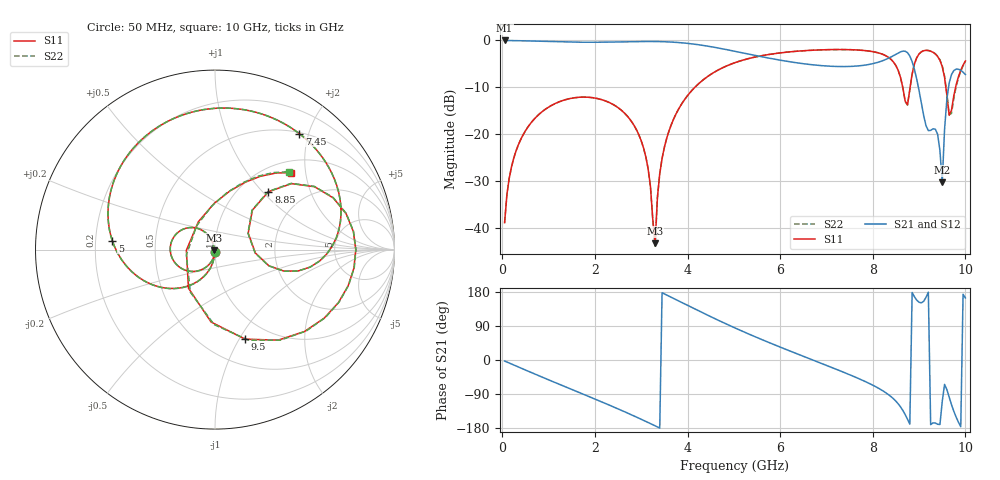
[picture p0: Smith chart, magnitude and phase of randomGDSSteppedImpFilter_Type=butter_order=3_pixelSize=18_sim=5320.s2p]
! freq	dB(S11)	phase(S11)	dB(S12)	phase(S12)
!  dB(S21)	phase(S21)	dB(S22)	phase(S22)
!S-par simulation data
#  GHz  S  DB  R 50
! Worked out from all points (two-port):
!   200 points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, 50 MHz to 10 GHz, reference 50 ohm
!   highest |S21| = 0.00 dB at 50 MHz (marker M1); lowest = -30.2 dB at 9.5 GHz (marker M2)
!   |S21| within 3 dB of the highest: start of sweep to 5.366 GHz; 8.489 GHz to 8.778 GHz (289.3 MHz wide, 3.35 % of centre)
!   lowest |S11| = -43.2 dB at 3.3 GHz (marker M3), VSWR 1.01, Z = 49.5 - j0.454 ohm
!   |S11| at or under -10 dB: start of sweep to 4.156 GHz; 8.648 GHz to 8.806 GHz (157.9 MHz wide, 1.81 % of centre); 9.578 GHz to 9.788 GHz (210.1 MHz wide, 2.17 % of centre)
!   |S22| runs from -43.8 to -1.9 dB; largest |S21 - S12| = 0
!   S11 on the Smith chart (normalised r, x): 50 MHz: 1.00, -0.02; 5 GHz: 0.27, +0.04; 7.45 GHz: 0.52, +1.85; 8.85 GHz: 1.35, +1.08; 9.5 GHz: 0.77, -1.06; 10 GHz: 1.23, +1.67
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0.05  -38.78 -92.3  -0.00 -2.7  -0.00 -2.7  -38.78 -92.3
0.2  -26.86 -100.7  -0.03 -10.7  -0.03 -10.7  -26.86 -100.7
0.5  -19.23 -116.9  -0.09 -26.5  -0.09 -26.5  -19.23 -116.9
1.75  -12.06 179.1  -0.39 -90.3  -0.39 -90.3  -12.06 179.0
2.9  -19.07 120.0  -0.24 -150.8  -0.24 -150.8  -19.07 119.7
3.15  -27.36 109.2  -0.22 -165.0  -0.22 -165.0  -27.38 108.3
3.3  -43.19 -138.5  -0.23 -173.7  -0.23 -173.7  -43.79 -136.0
3.4  -28.37 -96.9  -0.25 -179.6  -0.25 -179.6  -28.39 -95.6
3.9  -13.11 -121.7  -0.52 150.4  -0.52 150.4  -13.11 -121.4
5  -4.82 175.0  -2.26 85.9  -2.26 85.9  -4.82 175.1
5.05  -4.64 172.3  -2.36 83.2  -2.36 83.2  -4.64 172.4
6.7  -2.08 90.0  -5.18 0.2  -5.18 0.2  -2.08 90.1
7.45  -1.95 54.1  -5.55 -36.3  -5.55 -36.3  -1.95 54.1
8.35  -3.68 1.9  -3.74 -92.4  -3.74 -92.4  -3.68 1.8
8.75  -13.70 26.4  -2.60 -156.2  -2.60 -156.2  -13.77 26.5
8.85  -7.15 47.3  -4.51 178.1  -4.51 178.1  -7.16 47.6
9.15  -2.11 -0.1  -18.17 165.5  -18.17 165.5  -2.10 0.2
9.4  -3.40 -42.5  -19.96 -169.6  -19.96 -169.6  -3.34 -41.8
9.5  -5.57 -71.4  -30.20 -109.4  -30.20 -109.4  -5.40 -69.9
9.65  -15.94 -178.6  -9.06 -98.2  -9.06 -98.2  -15.79 -169.5
9.8  -9.45 75.7  -6.10 -150.6  -6.10 -150.6  -9.85 78.5
10  -4.38 45.3  -7.25 163.8  -7.25 163.8  -4.47 46.5
